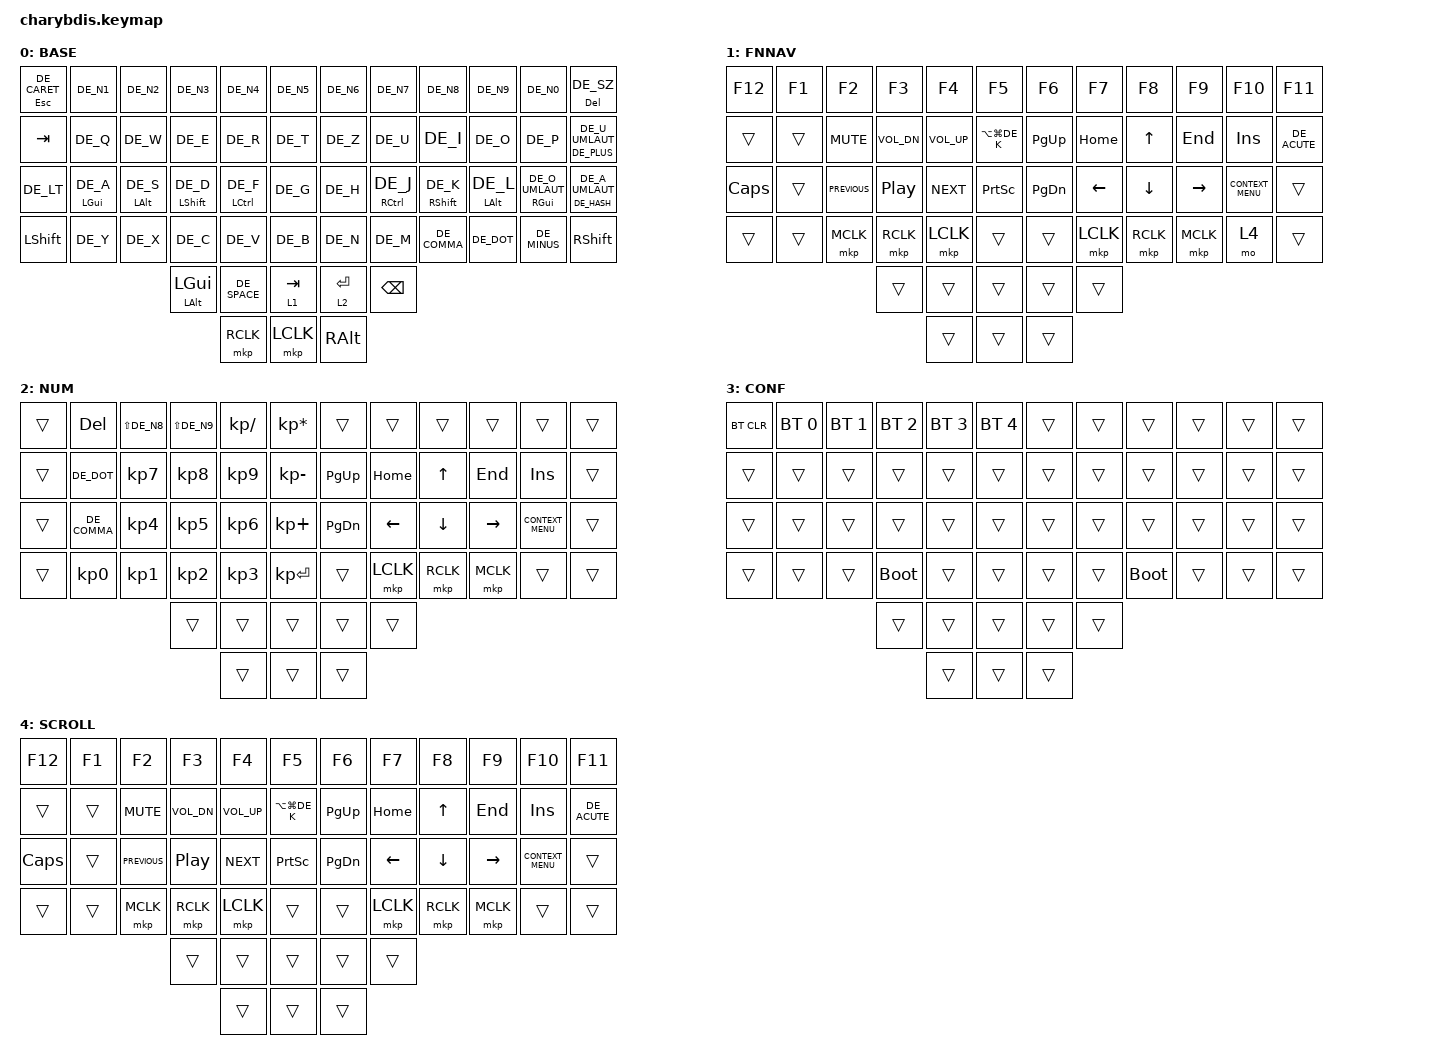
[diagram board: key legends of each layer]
#include "keys_de.h"
#include <dt-bindings/zmk/mouse.h>
#include <behaviors.dtsi>
#include <dt-bindings/zmk/bt.h>
#include <dt-bindings/zmk/keys.h>
#include <dt-bindings/zmk/pointing.h>

/ {
    combos { compatible = "zmk,combos"; };

    behaviors {
        HMRShiftR: HMRShiftR {
            compatible = "zmk,behavior-hold-tap";
            label = "HMRSHIFTR";
            bindings = <&kp>, <&kp>;

            #binding-cells = <2>;
            hold-trigger-key-positions = <54 50 40 0 1 2 3 4 5 12 13 14 15 16 17 24 25 26 27 28 29 36 37 38 39 40 41 48 49 50 53 54>;
            tapping-term-ms = <200>;
        };

        HMRShiftL: HMRShiftL {
            compatible = "zmk,behavior-hold-tap";
            label = "HMRSHIFTL";
            bindings = <&kp>, <&kp>;

            #binding-cells = <2>;
            tapping-term-ms = <200>;
            hold-trigger-key-positions = <55 55 52 6 7 8 9 10 11 18 19 20 21 22 23 30 31 32 33 34 35 42 43 44 45 46 47 51 52 55>;
        };

        HMRR: HMRR {
            compatible = "zmk,behavior-hold-tap";
            label = "HMRR";
            bindings = <&kp>, <&kp>;

            #binding-cells = <2>;
            hold-trigger-key-positions = <54 50 40 0 1 2 3 4 5 12 13 14 15 16 17 24 25 26 27 28 29 36 37 38 39 40 41 48 49 50 53 54>;
            tapping-term-ms = <200>;
            flavor = "tap-preferred";
        };

        HMRL: HMRL {
            compatible = "zmk,behavior-hold-tap";
            label = "HMRL";
            bindings = <&kp>, <&kp>;

            #binding-cells = <2>;
            tapping-term-ms = <200>;
            hold-trigger-key-positions = <55 55 52 6 7 8 9 10 11 18 19 20 21 22 23 30 31 32 33 34 35 42 43 44 45 46 47 51 52 55>;
            flavor = "tap-preferred";
        };
    };

    keymap {
        compatible = "zmk,keymap";

        BASE {
            bindings = <
&mt ESC DE_CARET  &kp DE_N1            &kp DE_N2            &kp DE_N3                   &kp DE_N4                &kp DE_N5    &kp DE_N6    &kp DE_N7                 &kp DE_N8                    &kp DE_N9            &kp DE_N0                    &mt DELETE DE_SZ
&kp TAB           &kp DE_Q             &kp DE_W             &kp DE_E                    &kp DE_R                 &kp DE_T     &kp DE_Z     &kp DE_U                  &kp DE_I                     &kp DE_O             &kp DE_P                     &mt DE_PLUS DE_U_UMLAUT
&kp DE_LT         &HMRL LEFT_GUI DE_A  &HMRL LEFT_ALT DE_S  &HMRShiftL LEFT_SHIFT DE_D  &HMRL LEFT_CONTROL DE_F  &kp DE_G     &kp DE_H     &HMRR RIGHT_CONTROL DE_J  &HMRShiftR RIGHT_SHIFT DE_K  &HMRR LEFT_ALT DE_L  &HMRR RIGHT_GUI DE_O_UMLAUT  &mt DE_HASH DE_A_UMLAUT
&kp LEFT_SHIFT    &kp DE_Y             &kp DE_X             &kp DE_C                    &kp DE_V                 &kp DE_B     &kp DE_N     &kp DE_M                  &kp DE_COMMA                 &kp DE_DOT           &kp DE_MINUS                 &kp RIGHT_SHIFT
                                                            &mt LEFT_ALT LEFT_GUI       &kp DE_SPACE             &lt 1 TAB    &lt 2 ENTER  &kp BACKSPACE
                                                                                        &mkp RCLK                &mkp LCLK    &kp RALT
            >;

            trackball-bindings = <&tmv_coarse>;
            label = "BASE";
        };

        FNNAV {
            bindings = <
&kp F12       &kp F1  &kp F2          &kp F3            &kp F4        &kp F5              &kp F6         &kp F7     &kp F8     &kp F9     &kp F10             &kp F11
&trans        &trans  &kp C_MUTE      &kp C_VOL_DN      &kp C_VOL_UP  &kp LA(LG(DE_K))    &kp PAGE_UP    &kp HOME   &kp UP     &kp END    &kp INSERT          &kp DE_ACUTE
&kp CAPSLOCK  &trans  &kp C_PREVIOUS  &kp C_PLAY_PAUSE  &kp C_NEXT    &kp PRINTSCREEN     &kp PAGE_DOWN  &kp LEFT   &kp DOWN   &kp RIGHT  &kp K_CONTEXT_MENU  &trans
&trans        &trans  &mkp MCLK       &mkp RCLK         &mkp LCLK     &trans              &trans         &mkp LCLK  &mkp RCLK  &mkp MCLK  &mo 4               &trans
                                      &trans            &trans        &trans              &trans         &trans
                                                        &trans        &trans              &trans
            >;

            trackball-bindings = <&tmv_coarse>;
            label = "FNNAV";
        };

        NUM {
            bindings = <
&trans  &kp DELETE       &kp LS(DE_N8)    &kp LS(DE_N9)    &kp KP_SLASH     &kp KP_MULTIPLY    &trans         &trans          &trans          &trans           &trans              &trans
&trans  &kp DE_DOT       &kp KP_NUMBER_7  &kp KP_NUMBER_8  &kp KP_NUMBER_9  &kp KP_SUBTRACT    &kp PAGE_UP    &kp HOME        &kp UP_ARROW    &kp END          &kp INSERT          &trans
&trans  &kp DE_COMMA     &kp KP_NUMBER_4  &kp KP_NUMBER_5  &kp KP_NUMBER_6  &kp KP_PLUS        &kp PAGE_DOWN  &kp LEFT_ARROW  &kp DOWN_ARROW  &kp RIGHT_ARROW  &kp K_CONTEXT_MENU  &trans
&trans  &kp KP_NUMBER_0  &kp KP_NUMBER_1  &kp KP_NUMBER_2  &kp KP_NUMBER_3  &kp KP_ENTER       &trans         &mkp LCLK       &mkp RCLK       &mkp MCLK        &trans              &trans
                                          &trans           &trans           &trans             &trans         &trans
                                                           &trans           &trans             &trans
            >;

            trackball-bindings = <&tsl>;
            label = "NUM";
        };

        CONF {
            bindings = <
&bt BT_CLR  &bt BT_SEL 0  &bt BT_SEL 1  &bt BT_SEL 2  &bt BT_SEL 3  &bt BT_SEL 4    &trans  &trans  &trans       &trans  &trans  &trans
&trans      &trans        &trans        &trans        &trans        &trans          &trans  &trans  &trans       &trans  &trans  &trans
&trans      &trans        &trans        &trans        &trans        &trans          &trans  &trans  &trans       &trans  &trans  &trans
&trans      &trans        &trans        &bootloader   &trans        &trans          &trans  &trans  &bootloader  &trans  &trans  &trans
                                        &trans        &trans        &trans          &trans  &trans
                                                      &trans        &trans          &trans
            >;

            label = "CONF";
        };

        SCROLL {
            bindings = <
&kp F12       &kp F1  &kp F2          &kp F3            &kp F4        &kp F5              &kp F6         &kp F7     &kp F8     &kp F9     &kp F10             &kp F11
&trans        &trans  &kp C_MUTE      &kp C_VOL_DN      &kp C_VOL_UP  &kp LA(LG(DE_K))    &kp PAGE_UP    &kp HOME   &kp UP     &kp END    &kp INSERT          &kp DE_ACUTE
&kp CAPSLOCK  &trans  &kp C_PREVIOUS  &kp C_PLAY_PAUSE  &kp C_NEXT    &kp PRINTSCREEN     &kp PAGE_DOWN  &kp LEFT   &kp DOWN   &kp RIGHT  &kp K_CONTEXT_MENU  &trans
&trans        &trans  &mkp MCLK       &mkp RCLK         &mkp LCLK     &trans              &trans         &mkp LCLK  &mkp RCLK  &mkp MCLK  &trans              &trans
                                      &trans            &trans        &trans              &trans         &trans
                                                        &trans        &trans              &trans
            >;

            trackball-bindings = <&tsl>;
            label = "SCROLL";

        };
    };

    conditional_layers {
        compatible = "zmk,conditional-layers";

        THIRD_LAYER {
            if-layers = <1 2>;
            then-layer = <3>;
        };
    };
};
